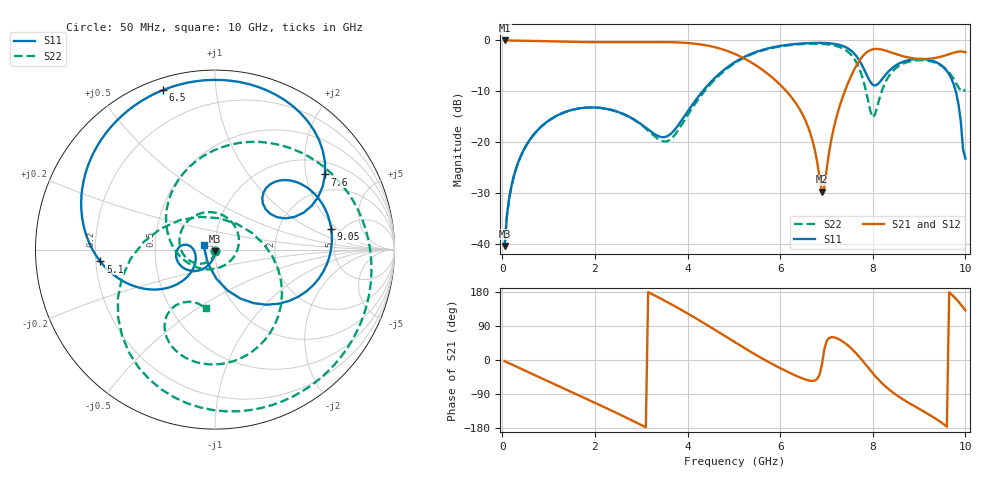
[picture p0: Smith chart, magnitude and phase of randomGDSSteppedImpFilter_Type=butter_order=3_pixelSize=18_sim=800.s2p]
! freq	dB(S11)	phase(S11)	dB(S12)	phase(S12)
!  dB(S21)	phase(S21)	dB(S22)	phase(S22)
!S-par simulation data
#  GHz  S  DB  R 50
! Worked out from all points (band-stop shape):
!   200 points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, 50 MHz to 10 GHz, reference 50 ohm
!   highest |S21| = -0.01 dB at 50 MHz (marker M1); lowest = -29.7 dB at 6.9 GHz (marker M2)
!   |S21| within 3 dB of the highest: start of sweep to 5.107 GHz; 7.792 GHz to 8.62 GHz (827.3 MHz wide, 10.1 % of centre) (the widest 2 of 3)
!   lowest |S11| = -40.3 dB at 50 MHz (marker M3), VSWR 1.02, Z = 50 - j0.966 ohm
!   |S11| at or under -10 dB: start of sweep to 4.324 GHz; 9.792 GHz to end of sweep
!   |S22| runs from -40.3 to -0.7 dB; largest |S21 - S12| = 0
!   S11 on the Smith chart (normalised r, x): 50 MHz: 1.00, -0.02; 5.1 GHz: 0.22, -0.05; 6.5 GHz: 0.05, +0.73; 7.6 GHz: 1.38, +2.58; 9.05 GHz: 4.12, +1.68; 10 GHz: 0.88, +0.05
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0.05  -40.30 -87.5  -0.01 -2.9  -0.01 -2.9  -40.34 -88.8
0.2  -28.46 -98.2  -0.03 -11.5  -0.03 -11.5  -28.50 -103.6
0.5  -20.86 -112.1  -0.08 -28.6  -0.08 -28.6  -20.88 -125.9
1.15  -14.89 -139.3  -0.22 -65.3  -0.22 -65.3  -14.90 -172.7
1.75  -13.22 -161.8  -0.33 -98.9  -0.33 -98.9  -13.23 142.7
2.7  -14.78 172.1  -0.34 -153.4  -0.34 -153.4  -14.80 61.1
3.4  -18.87 -173.1  -0.32 163.4  -0.32 163.4  -19.52 -37.6
4.25  -10.83 -137.6  -0.75 105.0  -0.75 105.0  -11.31 163.2
5.05  -4.11 -171.4  -2.77 44.7  -2.77 44.7  -4.28 76.9
5.1  -3.84 -174.1  -2.98 40.9  -2.98 40.9  -4.00 72.1
5.85  -1.34 144.0  -7.44 -11.9  -7.44 -11.9  -1.43 7.3
6.5  -0.58 108.0  -14.81 -49.5  -14.81 -49.5  -0.71 -40.5
6.7  -0.50 96.6  -19.68 -55.1  -19.68 -55.1  -0.66 -54.8
6.9  -0.49 84.7  -29.68 -12.8  -29.68 -12.8  -0.70 -69.8
7.3  -0.94 58.0  -12.46 52.7  -12.46 52.7  -1.37 -105.4
7.6  -2.59 34.3  -5.72 22.9  -5.72 22.9  -3.61 -144.8
7.95  -8.18 27.6  -1.89 -27.7  -1.89 -27.7  -13.93 114.6
8.35  -6.00 48.7  -2.21 -77.6  -2.21 -77.6  -6.96 -33.7
9.05  -3.64 10.1  -3.65 -132.3  -3.65 -132.3  -3.87 -93.5
9.7  -7.54 -47.0  -2.55 173.3  -2.55 173.3  -6.92 -126.3
9.85  -12.46 -72.8  -2.20 154.1  -2.20 154.1  -9.19 -121.9
10  -23.17 157.4  -2.33 130.9  -2.33 130.9  -9.62 -98.7
